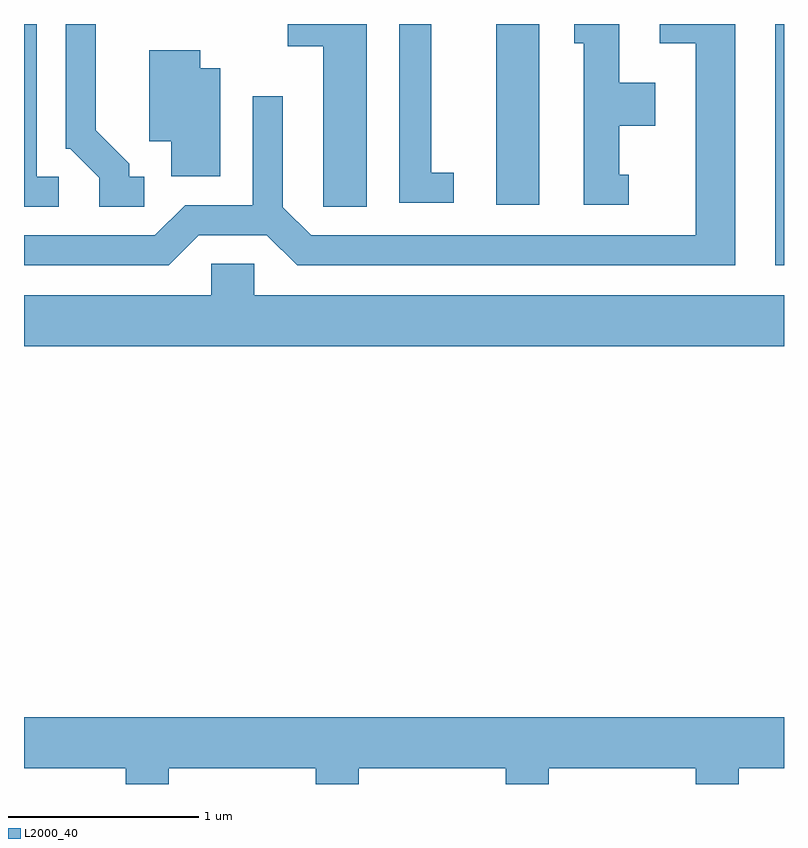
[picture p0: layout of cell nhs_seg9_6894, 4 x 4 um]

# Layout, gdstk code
import gdstk
lib = gdstk.Library(unit=1e-6, precision=1e-09)
def R(c, l, rs):  # rectangles x0, y0, x1, y1
    for r in rs: c.add(gdstk.rectangle(r[:2], r[2:], *l))
def P(c, l, *ps):  # polygons
    for p in ps: c.add(gdstk.Polygon(p, *l))
L2000_40 = (2000, 40)

nhs_seg9_6894 = lib.new_cell('nhs_seg9_6894')
R(nhs_seg9_6894, L2000_40, [(393.566,1961.161,393.611,1962.432), (392.096,1961.481,392.324,1962.432)])
P(nhs_seg9_6894, L2000_40, [(392.793,1961.639),(392.744,1961.639),(392.744,1961.896),(392.934,1961.896),(392.934,1962.124),(392.744,1962.124),(392.744,1962.432),(392.508,1962.432),(392.508,1962.331),(392.556,1962.331),(392.556,1961.481),(392.793,1961.481)],
  [(390.532,1961.321),(390.889,1961.321),(391.049,1961.161),(393.354,1961.161),(393.354,1962.432),(392.958,1962.432),(392.958,1962.331),(393.146,1962.331),(393.146,1961.319),(391.122,1961.319),(390.974,1961.467),(390.974,1962.053),(390.816,1962.053),(390.816,1961.479),(390.459,1961.479),(390.299,1961.319),(389.611,1961.319),(389.611,1961.161),(390.372,1961.161)],
  [(391.414,1962.432),(390.998,1962.432),(390.998,1962.316),(391.186,1962.316),(391.186,1961.471),(391.414,1961.471)],
  [(390.243,1961.629),(390.164,1961.629),(390.164,1961.697),(389.989,1961.872),(389.989,1962.432),(389.831,1962.432),(389.831,1961.776),(389.854,1961.776),(390.006,1961.624),(390.006,1961.471),(390.243,1961.471)],
  [(391.873,1961.649),(391.754,1961.649),(391.754,1962.432),(391.586,1962.432),(391.586,1961.491),(391.873,1961.491)],
  [(389.793,1961.629),(389.679,1961.629),(389.679,1962.432),(389.611,1962.432),(389.611,1961.471),(389.793,1961.471)],
  [(390.644,1962.199),(390.539,1962.199),(390.539,1962.294),(390.271,1962.294),(390.271,1961.816),(390.386,1961.816),(390.386,1961.631),(390.644,1961.631)],
  [(393.611,1961.004),(390.824,1961.004),(390.824,1961.169),(390.596,1961.169),(390.596,1961.004),(389.611,1961.004),(389.611,1960.736),(393.611,1960.736)],
  [(390.374,1958.516),(391.146,1958.516),(391.146,1958.432),(391.374,1958.432),(391.374,1958.516),(392.146,1958.516),(392.146,1958.432),(392.374,1958.432),(392.374,1958.516),(393.146,1958.516),(393.146,1958.432),(393.374,1958.432),(393.374,1958.516),(393.611,1958.516),(393.611,1958.784),(389.611,1958.784),(389.611,1958.516),(390.146,1958.516),(390.146,1958.432),(390.374,1958.432)])

lib.write_gds('nhs_seg9_6894.gds')
